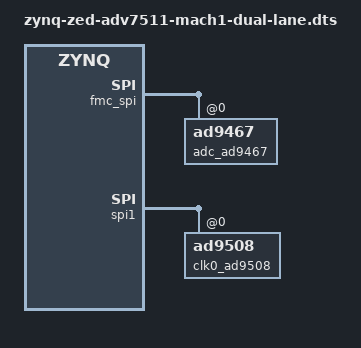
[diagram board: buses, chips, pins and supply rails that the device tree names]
// SPDX-License-Identifier: GPL-2.0
/*
 * Analog Devices AD9467
 * https://wiki.analog.com/resources/tools-software/linux-drivers/iio-adc/axi-adc-hdl
 * https://wiki.analog.com/resources/eval/ad9467-fmc-250ebz
 * https://wiki.analog.com/resources/fpga/xilinx/fmc/ad9467
 *
 * hdl_project: <ad9467_fmc/zed>
 * board_revision: <>
 *
 * Copyright (C) 2016-2019 Analog Devices Inc.
 */
/dts-v1/;

#include "zynq-zed-adv7511-mach1.dts"

&fmc_spi {
	adc_ad9467: ad9467@0 {
		num_lanes = <2>;
	};

};

&spi1 {

	clk0_ad9508: ad9508@0 {
		ad9508_0_c2:channel@2 {
			reg = <2>;
			adi,extended-name = "CNV";
			adi,driver-mode = <(DRIVER_PHASE_NORMAL | DRIVER_MODE_HIGHZ_CMOS | DRIVER_CMOS_P_ENABLE | DRIVER_PHASE_CMOS_P_NORMAL | DRIVER_CMOS_N_ENABLE | DRIVER_PHASE_CMOS_N_FORCE_LOW)>;
			adi,divider-phase = <0>;
			adi,channel-divider = <10>;
		};
	};
};
